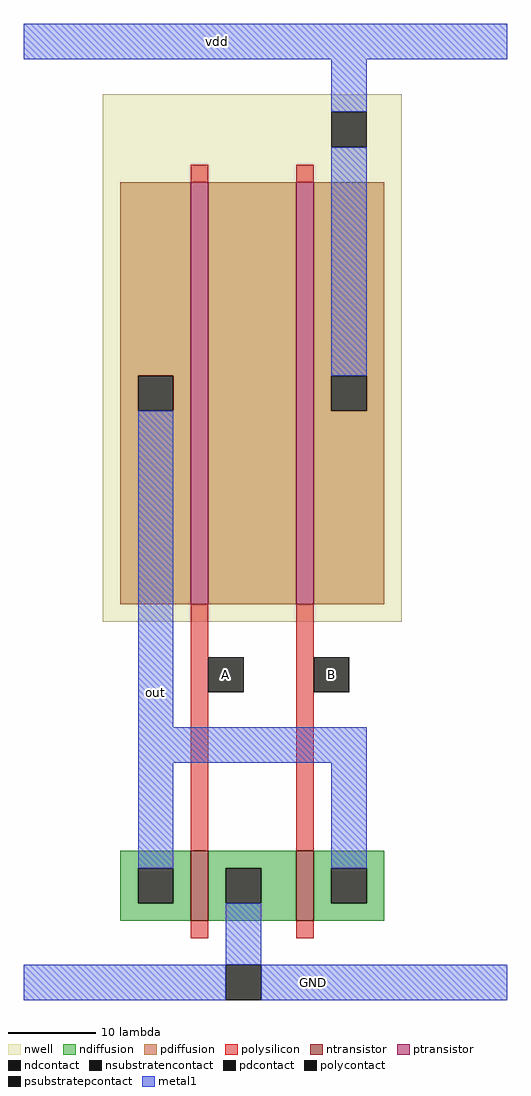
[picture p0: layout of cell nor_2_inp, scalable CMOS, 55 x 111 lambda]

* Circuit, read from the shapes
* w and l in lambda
.subckt nor_2_inp A B GND out vdd
M1 GND A out GND nfet w=8 l=2
M2 out B GND GND nfet w=8 l=2
M3 n1 A out vdd pfet w=48 l=2
M4 vdd B n1 vdd pfet w=48 l=2
.ends

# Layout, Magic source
magic
tech scmos
<< nwell >>
rect -24 -7 10 53
<< polysilicon >>
rect -14 43 -12 45
rect -2 43 0 45
rect -14 -33 -12 -5
rect -2 -33 0 -5
rect -14 -43 -12 -41
rect -2 -43 0 -41
<< ndiffusion >>
rect -22 -35 -14 -33
rect -22 -39 -20 -35
rect -16 -39 -14 -35
rect -22 -41 -14 -39
rect -12 -35 -2 -33
rect -12 -39 -10 -35
rect -6 -39 -2 -35
rect -12 -41 -2 -39
rect 0 -35 8 -33
rect 0 -39 2 -35
rect 6 -39 8 -35
rect 0 -41 8 -39
<< pdiffusion >>
rect -22 21 -14 43
rect -22 17 -20 21
rect -16 17 -14 21
rect -22 -5 -14 17
rect -12 -5 -2 43
rect 0 21 8 43
rect 0 17 2 21
rect 6 17 8 21
rect 0 -5 8 17
<< metal1 >>
rect -33 57 22 61
rect 2 51 6 57
rect 2 21 6 47
rect -20 -19 -16 17
rect -20 -23 6 -19
rect -20 -35 -16 -23
rect 2 -35 6 -23
rect -10 -46 -6 -39
rect -33 -50 -10 -46
rect -6 -50 22 -46
<< ntransistor >>
rect -14 -41 -12 -33
rect -2 -41 0 -33
<< ptransistor >>
rect -14 -5 -12 43
rect -2 -5 0 43
<< polycontact >>
rect -12 -15 -8 -11
rect 0 -15 4 -11
<< ndcontact >>
rect -20 -39 -16 -35
rect -10 -39 -6 -35
rect 2 -39 6 -35
<< pdcontact >>
rect -20 17 -16 21
rect 2 17 6 21
<< psubstratepcontact >>
rect -10 -50 -6 -46
<< nsubstratencontact >>
rect 2 47 6 51
<< labels >>
rlabel polycontact -10 -13 -10 -13 1 A
rlabel polycontact 2 -13 2 -13 1 B
rlabel metal1 -18 -15 -18 -15 1 out
rlabel metal1 0 -48 0 -48 1 GND
rlabel metal1 -11 59 -11 59 5 vdd
<< end >>
